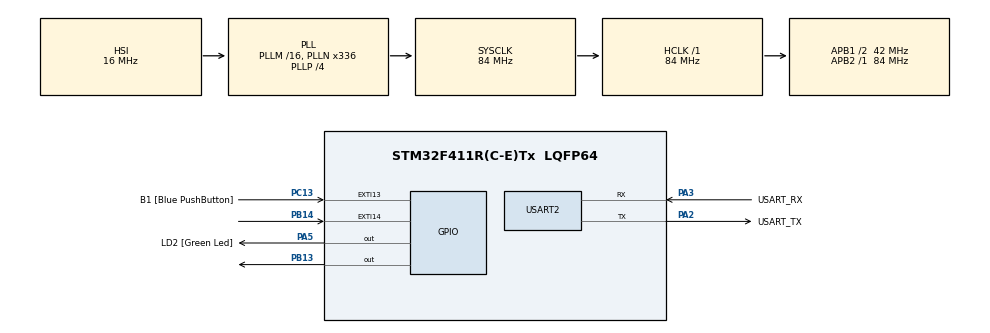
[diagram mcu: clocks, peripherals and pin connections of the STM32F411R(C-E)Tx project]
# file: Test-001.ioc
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Mcu.Family=STM32F4
Mcu.Name=STM32F411R(C-E)Tx
Mcu.Package=LQFP64
NVIC.EXTI15_10_IRQn=true\:0\:0\:false\:false\:true\:true\:true\:true
NVIC.PriorityGroup=NVIC_PRIORITYGROUP_0
NVIC.TIM2_IRQn=true\:0\:0\:false\:false\:true\:true\:true\:true
PA13.GPIO_Label=TMS
PA13.Mode=Serial_Wire
PA13.Signal=SYS_JTMS-SWDIO
PA14.GPIO_Label=TCK
PA14.Mode=Serial_Wire
PA14.Signal=SYS_JTCK-SWCLK
PA2.GPIO_Label=USART_TX
PA2.Mode=Asynchronous
PA2.Signal=USART2_TX
PA3.GPIO_Label=USART_RX
PA3.Mode=Asynchronous
PA3.Signal=USART2_RX
PA5.GPIO_Label=LD2 [Green Led]
PA5.Signal=GPIO_Output
PB13.Signal=GPIO_Output
PB14.GPIO_ModeDefaultEXTI=GPIO_MODE_IT_RISING_FALLING
PB14.Signal=GPXTI14
PB3.GPIO_Label=SWO
PB3.Signal=SYS_JTDO-SWO
PC13-ANTI_TAMP.GPIO_Label=B1 [Blue PushButton]
PC13-ANTI_TAMP.GPIO_ModeDefaultEXTI=GPIO_MODE_IT_FALLING
PC13-ANTI_TAMP.Signal=GPXTI13
PC14-OSC32_IN.Mode=LSE-External-Oscillator
PC14-OSC32_IN.Signal=RCC_OSC32_IN
PC15-OSC32_OUT.Mode=LSE-External-Oscillator
PC15-OSC32_OUT.Signal=RCC_OSC32_OUT
PH0\ -\ OSC_IN.Mode=HSE-External-Clock-Source
PH0\ -\ OSC_IN.Signal=RCC_OSC_IN
PH1\ -\ OSC_OUT.Mode=HSE-External-Clock-Source
PH1\ -\ OSC_OUT.Signal=RCC_OSC_OUT
ProjectManager.HeapSize=0x200
ProjectManager.StackSize=0x400
ProjectManager.TargetToolchain=STM32CubeIDE
RCC.48MHZClocksFreq_Value=84000000
RCC.AHBFreq_Value=84000000
RCC.APB1CLKDivider=RCC_HCLK_DIV2
RCC.APB1Freq_Value=42000000
RCC.APB1TimFreq_Value=84000000
RCC.APB2Freq_Value=84000000
RCC.APB2TimFreq_Value=84000000
RCC.CortexFreq_Value=84000000
RCC.FLatency-AdvancedSettings=FLASH_LATENCY_2
RCC.HCLKFreq_Value=84000000
RCC.HSE_VALUE=8000000
RCC.HSI_VALUE=16000000
RCC.PLLN=336
RCC.PLLP=RCC_PLLP_DIV4
RCC.SYSCLKFreq_VALUE=84000000
RCC.SYSCLKSource=RCC_SYSCLKSOURCE_PLLCLK
RCC.VCOOutputFreq_Value=336000000
USART2.VirtualMode=VM_ASYNC
VP_TIM2_VS_ClockSourceINT.Mode=Internal
board=NUCLEO-F411RE

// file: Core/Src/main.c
/* USER CODE BEGIN Header */
/**
  ******************************************************************************
  * @file           : main.c
  * @brief          : Main program body
  ******************************************************************************
  * @attention
  *
  * Copyright (c) 2025 STMicroelectronics.
  * All rights reserved.
  *
  * This software is licensed under terms that can be found in the LICENSE file
  * in the root directory of this software component.
  * If no LICENSE file comes with this software, it is provided AS-IS.
  *
  ******************************************************************************
  */
/* USER CODE END Header */
#include "main.h"

/* USER CODE BEGIN PTD */
#ifdef __GNUC__
/* With GCC, small printf (option LD Linker->Libraries->Small printf
   set to 'Yes') calls __io_putchar() */
#define PUTCHAR_PROTOTYPE int __io_putchar(int ch)
#else
#define PUTCHAR_PROTOTYPE int fputc(int ch, FILE *f)
#endif /* __GNUC__ */
/* USER CODE END PTD */

TIM_HandleTypeDef htim2;

UART_HandleTypeDef huart2;

/* USER CODE BEGIN PV */
volatile uint32_t echo_start = 0;
volatile uint32_t echo_end = 0;
volatile uint8_t echo_captured = 0;
/* USER CODE END PV */

void SystemClock_Config(void);
static void MX_GPIO_Init(void);
static void MX_USART2_UART_Init(void);
static void MX_TIM2_Init(void);

/* USER CODE BEGIN 0 */
void HCSR04_Trigger(void)
{
	HAL_GPIO_WritePin(GPIOB, GPIO_PIN_13, GPIO_PIN_SET);
	for(volatile int i = 0; i < 100; i++);
	HAL_GPIO_WritePin(GPIOB, GPIO_PIN_13, GPIO_PIN_RESET);
}
/* USER CODE END 0 */

int main(void)
{

  /* MCU Configuration--------------------------------------------------------*/

  /* Reset of all peripherals, Initializes the Flash interface and the Systick. */
  HAL_Init();

  /* Configure the system clock */
  SystemClock_Config();

  /* Initialize all configured peripherals */
  MX_GPIO_Init();
  MX_USART2_UART_Init();
  MX_TIM2_Init();
  /* USER CODE BEGIN 2 */
  printf("mainStart(");
  /* USER CODE END 2 */

  /* Infinite loop */
  /* USER CODE BEGIN WHILE */
  while (1)
  {
	  HCSR04_Trigger();
	  HAL_Delay(1000);
	  if(echo_captured)
	  {
		  uint32_t diff = (echo_end > echo_start) ? (echo_end - echo_start) : (0xFFFF - echo_end + echo_start);
		  float distance = diff * 0.034/2;
		  echo_captured = 0;
		  printf("%f, start : %d, end : %d\r\n",distance, echo_start, echo_end);
	  }
    /* USER CODE END WHILE */

  }
}

void SystemClock_Config(void)
{
  RCC_OscInitTypeDef RCC_OscInitStruct = {0};
  RCC_ClkInitTypeDef RCC_ClkInitStruct = {0};

  /** Configure the main internal regulator output voltage
  */
  __HAL_RCC_PWR_CLK_ENABLE();
  __HAL_PWR_VOLTAGESCALING_CONFIG(PWR_REGULATOR_VOLTAGE_SCALE1);

  /** Initializes the RCC Oscillators according to the specified parameters
  * in the RCC_OscInitTypeDef structure.
  */
  RCC_OscInitStruct.OscillatorType = RCC_OSCILLATORTYPE_HSI;
  RCC_OscInitStruct.HSIState = RCC_HSI_ON;
  RCC_OscInitStruct.HSICalibrationValue = RCC_HSICALIBRATION_DEFAULT;
  RCC_OscInitStruct.PLL.PLLState = RCC_PLL_ON;
  RCC_OscInitStruct.PLL.PLLSource = RCC_PLLSOURCE_HSI;
  RCC_OscInitStruct.PLL.PLLM = 16;
  RCC_OscInitStruct.PLL.PLLN = 336;
  RCC_OscInitStruct.PLL.PLLP = RCC_PLLP_DIV4;
  RCC_OscInitStruct.PLL.PLLQ = 4;
  if (HAL_RCC_OscConfig(&RCC_OscInitStruct) != HAL_OK)
  {
    Error_Handler();
  }

  /** Initializes the CPU, AHB and APB buses clocks
  */
  RCC_ClkInitStruct.ClockType = RCC_CLOCKTYPE_HCLK|RCC_CLOCKTYPE_SYSCLK
                              |RCC_CLOCKTYPE_PCLK1|RCC_CLOCKTYPE_PCLK2;
  RCC_ClkInitStruct.SYSCLKSource = RCC_SYSCLKSOURCE_PLLCLK;
  RCC_ClkInitStruct.AHBCLKDivider = RCC_SYSCLK_DIV1;
  RCC_ClkInitStruct.APB1CLKDivider = RCC_HCLK_DIV2;
  RCC_ClkInitStruct.APB2CLKDivider = RCC_HCLK_DIV1;

  if (HAL_RCC_ClockConfig(&RCC_ClkInitStruct, FLASH_LATENCY_2) != HAL_OK)
  {
    Error_Handler();
  }
}

static void MX_TIM2_Init(void)
{

  TIM_ClockConfigTypeDef sClockSourceConfig = {0};
  TIM_MasterConfigTypeDef sMasterConfig = {0};

  htim2.Instance = TIM2;
  htim2.Init.Prescaler = 0;
  htim2.Init.CounterMode = TIM_COUNTERMODE_UP;
  htim2.Init.Period = 4294967295;
  htim2.Init.ClockDivision = TIM_CLOCKDIVISION_DIV1;
  htim2.Init.AutoReloadPreload = TIM_AUTORELOAD_PRELOAD_DISABLE;
  if (HAL_TIM_Base_Init(&htim2) != HAL_OK)
  {
    Error_Handler();
  }
  sClockSourceConfig.ClockSource = TIM_CLOCKSOURCE_INTERNAL;
  if (HAL_TIM_ConfigClockSource(&htim2, &sClockSourceConfig) != HAL_OK)
  {
    Error_Handler();
  }
  sMasterConfig.MasterOutputTrigger = TIM_TRGO_RESET;
  sMasterConfig.MasterSlaveMode = TIM_MASTERSLAVEMODE_DISABLE;
  if (HAL_TIMEx_MasterConfigSynchronization(&htim2, &sMasterConfig) != HAL_OK)
  {
    Error_Handler();
  }

}

static void MX_USART2_UART_Init(void)
{

  huart2.Instance = USART2;
  huart2.Init.BaudRate = 115200;
  huart2.Init.WordLength = UART_WORDLENGTH_8B;
  huart2.Init.StopBits = UART_STOPBITS_1;
  huart2.Init.Parity = UART_PARITY_NONE;
  huart2.Init.Mode = UART_MODE_TX_RX;
  huart2.Init.HwFlowCtl = UART_HWCONTROL_NONE;
  huart2.Init.OverSampling = UART_OVERSAMPLING_16;
  if (HAL_UART_Init(&huart2) != HAL_OK)
  {
    Error_Handler();
  }

}

static void MX_GPIO_Init(void)
{
  GPIO_InitTypeDef GPIO_InitStruct = {0};

  /* GPIO Ports Clock Enable */
  __HAL_RCC_GPIOC_CLK_ENABLE();
  __HAL_RCC_GPIOH_CLK_ENABLE();
  __HAL_RCC_GPIOA_CLK_ENABLE();
  __HAL_RCC_GPIOB_CLK_ENABLE();

  /*Configure GPIO pin Output Level */
  HAL_GPIO_WritePin(LD2_GPIO_Port, LD2_Pin, GPIO_PIN_RESET);

  /*Configure GPIO pin Output Level */
  HAL_GPIO_WritePin(GPIOB, GPIO_PIN_13, GPIO_PIN_RESET);

  /*Configure GPIO pin : B1_Pin */
  GPIO_InitStruct.Pin = B1_Pin;
  GPIO_InitStruct.Mode = GPIO_MODE_IT_FALLING;
  GPIO_InitStruct.Pull = GPIO_NOPULL;
  HAL_GPIO_Init(B1_GPIO_Port, &GPIO_InitStruct);

  /*Configure GPIO pin : LD2_Pin */
  GPIO_InitStruct.Pin = LD2_Pin;
  GPIO_InitStruct.Mode = GPIO_MODE_OUTPUT_PP;
  GPIO_InitStruct.Pull = GPIO_NOPULL;
  GPIO_InitStruct.Speed = GPIO_SPEED_FREQ_LOW;
  HAL_GPIO_Init(LD2_GPIO_Port, &GPIO_InitStruct);

  /*Configure GPIO pin : PB13 */
  GPIO_InitStruct.Pin = GPIO_PIN_13;
  GPIO_InitStruct.Mode = GPIO_MODE_OUTPUT_PP;
  GPIO_InitStruct.Pull = GPIO_NOPULL;
  GPIO_InitStruct.Speed = GPIO_SPEED_FREQ_LOW;
  HAL_GPIO_Init(GPIOB, &GPIO_InitStruct);

  /*Configure GPIO pin : PB14 */
  GPIO_InitStruct.Pin = GPIO_PIN_14;
  GPIO_InitStruct.Mode = GPIO_MODE_IT_RISING_FALLING;
  GPIO_InitStruct.Pull = GPIO_NOPULL;
  HAL_GPIO_Init(GPIOB, &GPIO_InitStruct);

  /* EXTI interrupt init*/
  HAL_NVIC_SetPriority(EXTI15_10_IRQn, 0, 0);
  HAL_NVIC_EnableIRQ(EXTI15_10_IRQn);

}

/* USER CODE BEGIN 4 */
PUTCHAR_PROTOTYPE
{
  /* Place your implementation of fputc here */
  /* e.g. write a character to the USART6 and Loop until the end of transmission */
  HAL_UART_Transmit(&huart2, (uint8_t *)&ch, 1, 0xFFFF);

  return ch;
}

void HAL_GPIO_EXTI_Callback(uint16_t GPIO_Pin)
{
	if(GPIO_Pin == GPIO_PIN_14)
	{
		printf("EXTI\r\n");
		if(HAL_GPIO_ReadPin(GPIOB, GPIO_PIN_14) == GPIO_PIN_SET)
		{
			echo_start = __HAL_TIM_GET_COUNTER(&htim2);
		}
		else
		{
			echo_end = __HAL_TIM_GET_COUNTER(&htim2);
			echo_captured = 1;
		}
	}
}
/* USER CODE END 4 */

void Error_Handler(void)
{
  __disable_irq();
  while (1)
  {
  }
}
